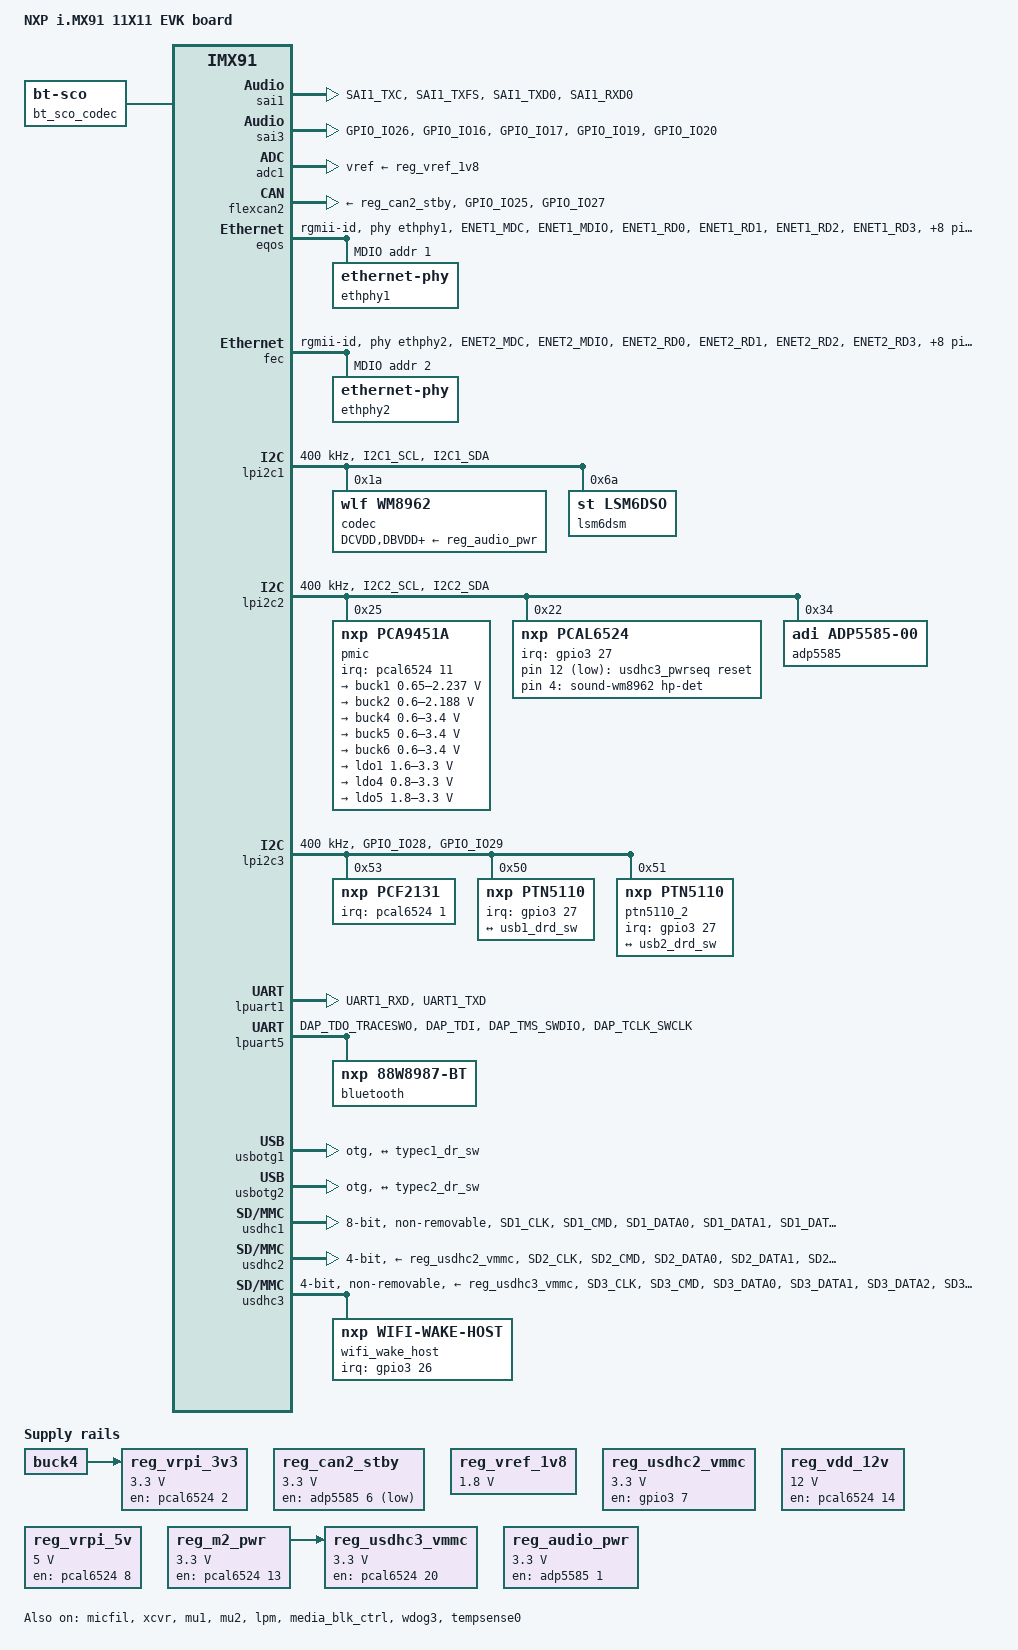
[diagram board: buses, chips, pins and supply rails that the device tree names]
// SPDX-License-Identifier: (GPL-2.0+ OR MIT)
/*
 * Copyright 2024 NXP
 */

/dts-v1/;

#include <dt-bindings/usb/pd.h>
#include "imx91.dtsi"

&ele_fw2 {
	memory-region = <&ele_reserved>;
};

/ {
	model = "NXP i.MX91 11X11 EVK board";
	compatible = "fsl,imx91-11x11-evk", "fsl,imx91";

	chosen {
		stdout-path = &lpuart1;
	};

	reserved-memory {
		#address-cells = <2>;
		#size-cells = <2>;
		ranges;

		linux,cma {
			compatible = "shared-dma-pool";
			reusable;
			alloc-ranges = <0 0x80000000 0 0x40000000>;
			size = <0 0x10000000>;
			linux,cma-default;
		};

		ele_reserved: ele-reserved@a4120000 {
			compatible = "shared-dma-pool";
			reg = <0 0xa4120000 0 0x100000>;
			no-map;
		};
	};

	reg_can2_stby: regulator-can2-stby {
		compatible = "regulator-fixed";
		regulator-name = "can2-stby";
		regulator-min-microvolt = <3300000>;
		regulator-max-microvolt = <3300000>;
		gpio = <&adp5585 6 GPIO_ACTIVE_LOW>;
		enable-active-low;
	};

	reg_vref_1v8: regulator-adc-vref {
		compatible = "regulator-fixed";
		regulator-name = "vref_1v8";
		regulator-min-microvolt = <1800000>;
		regulator-max-microvolt = <1800000>;
	};

	reg_usdhc2_vmmc: regulator-usdhc2 {
		compatible = "regulator-fixed";
		pinctrl-names = "default";
		pinctrl-0 = <&pinctrl_reg_usdhc2_vmmc>;
		regulator-name = "VSD_3V3";
		regulator-min-microvolt = <3300000>;
		regulator-max-microvolt = <3300000>;
		gpio = <&gpio3 7 GPIO_ACTIVE_HIGH>;
		off-on-delay-us = <12000>;
		enable-active-high;
	};

	reg_vdd_12v: regulator-vdd-12v {
		compatible = "regulator-fixed";
		regulator-name = "reg_vdd_12v";
		regulator-min-microvolt = <12000000>;
		regulator-max-microvolt = <12000000>;
		gpio = <&pcal6524 14 GPIO_ACTIVE_HIGH>;
		enable-active-high;
	};

	reg_vrpi_3v3: regulator-vrpi-3v3 {
		compatible = "regulator-fixed";
		regulator-name = "VRPI_3V3";
		gpio = <&pcal6524 2 GPIO_ACTIVE_HIGH>;
		regulator-min-microvolt = <3300000>;
		regulator-max-microvolt = <3300000>;
		enable-active-high;
		vin-supply = <&buck4>;
	};

	reg_vrpi_5v: regulator-vrpi-5v {
		compatible = "regulator-fixed";
		regulator-name = "VRPI_5V";
		gpio = <&pcal6524 8 GPIO_ACTIVE_HIGH>;
		regulator-min-microvolt = <5000000>;
		regulator-max-microvolt = <5000000>;
		enable-active-high;
	};

	reg_m2_pwr: regulator-m2-pwr {
		compatible = "regulator-fixed";
		regulator-name = "M.2-power";
		regulator-min-microvolt = <3300000>;
		regulator-max-microvolt = <3300000>;
		gpio = <&pcal6524 13 GPIO_ACTIVE_HIGH>;
		enable-active-high;
	};

	reg_usdhc3_vmmc: regulator-usdhc3 {
		compatible = "regulator-fixed";
		regulator-name = "WLAN_EN";
		regulator-min-microvolt = <3300000>;
		regulator-max-microvolt = <3300000>;
		vin-supply = <&reg_m2_pwr>;
		gpio = <&pcal6524 20 GPIO_ACTIVE_HIGH>;
		/*
		 * IW612 wifi chip needs more delay than other wifi chips to complete
		 * the host interface initialization after power up, otherwise the
		 * internal state of IW612 may be unstable, resulting in the failure of
		 * the SDIO3.0 switch voltage.
		 */
		startup-delay-us = <20000>;
		enable-active-high;
	};

	usdhc3_pwrseq: usdhc3_pwrseq {
		compatible = "mmc-pwrseq-simple";
		reset-gpios = <&pcal6524 12 GPIO_ACTIVE_LOW>;
	};

	reg_audio_pwr: regulator-audio-pwr {
		compatible = "regulator-fixed";
		regulator-name = "audio-pwr";
		regulator-min-microvolt = <3300000>;
		regulator-max-microvolt = <3300000>;
		gpio = <&adp5585 1 GPIO_ACTIVE_HIGH>;
		enable-active-high;
		regulator-always-on;
	};

	sound-wm8962 {
		compatible = "fsl,imx-audio-wm8962";
		model = "wm8962-audio";
		audio-cpu = <&sai3>;
		audio-codec = <&codec>;
		hp-det-gpio = <&pcal6524 4 GPIO_ACTIVE_HIGH>;
		audio-routing =
			"Headphone Jack", "HPOUTL",
			"Headphone Jack", "HPOUTR",
			"Ext Spk", "SPKOUTL",
			"Ext Spk", "SPKOUTR",
			"AMIC", "MICBIAS",
			"IN3R", "AMIC",
			"IN1R", "AMIC";
	};

	sound-micfil {
		compatible = "fsl,imx-audio-card";
		model = "micfil-audio";
		pri-dai-link {
			link-name = "micfil hifi";
			format = "i2s";
			cpu {
				sound-dai = <&micfil>;
			};
		};
	};

	bt_sco_codec: bt_sco_codec {
		#sound-dai-cells = <1>;
		compatible = "linux,bt-sco";
	};

	sound-bt-sco {
		compatible = "simple-audio-card";
		simple-audio-card,name = "bt-sco-audio";
		simple-audio-card,format = "dsp_a";
		simple-audio-card,bitclock-inversion;
		simple-audio-card,frame-master = <&btcpu>;
		simple-audio-card,bitclock-master = <&btcpu>;

		btcpu: simple-audio-card,cpu {
			sound-dai = <&sai1>;
			dai-tdm-slot-num = <2>;
			dai-tdm-slot-width = <16>;
		};

		simple-audio-card,codec {
			sound-dai = <&bt_sco_codec 1>;
		};
	};

	sound-xcvr {
		compatible = "fsl,imx-audio-card";
		model = "imx-audio-xcvr";
		pri-dai-link {
			link-name = "XCVR PCM";
			cpu {
				sound-dai = <&xcvr>;
			};
		};
	};
};

&sai1 {
	#sound-dai-cells = <0>;
	pinctrl-names = "default", "sleep";
	pinctrl-0 = <&pinctrl_sai1>;
	pinctrl-1 = <&pinctrl_sai1_sleep>;
	assigned-clocks = <&clk IMX91_CLK_SAI1>;
	assigned-clock-parents = <&clk IMX91_CLK_AUDIO_PLL>;
	assigned-clock-rates = <12288000>;
	fsl,sai-mclk-direction-output;
	status = "okay";
};

&sai3 {
	pinctrl-names = "default", "sleep";
	pinctrl-0 = <&pinctrl_sai3>;
	pinctrl-1 = <&pinctrl_sai3_sleep>;
	assigned-clocks = <&clk IMX91_CLK_SAI3>;
	assigned-clock-parents = <&clk IMX91_CLK_AUDIO_PLL>;
	assigned-clock-rates = <12288000>;
	fsl,sai-mclk-direction-output;
	status = "okay";
};

&micfil {
	#sound-dai-cells = <0>;
	pinctrl-names = "default", "sleep";
	pinctrl-0 = <&pinctrl_pdm>;
	pinctrl-1 = <&pinctrl_pdm_sleep>;
	assigned-clocks = <&clk IMX91_CLK_PDM>;
	assigned-clock-parents = <&clk IMX91_CLK_AUDIO_PLL>;
	assigned-clock-rates = <49152000>;
	status = "okay";
};

&xcvr {
	#sound-dai-cells = <0>;
	pinctrl-names = "default", "sleep";
	pinctrl-0 = <&pinctrl_spdif>;
	pinctrl-1 = <&pinctrl_spdif_sleep>;
	clocks = <&clk IMX91_CLK_SPDIF_IPG>,
		<&clk IMX91_CLK_SPDIF_GATE>,
		<&clk IMX91_CLK_DUMMY>,
		<&clk IMX91_CLK_AUD_XCVR_GATE>,
		<&clk IMX91_CLK_AUDIO_PLL>;
	clock-names = "ipg", "phy", "spba", "pll_ipg", "pll8k";
	assigned-clocks = <&clk IMX91_CLK_SPDIF>,
			 <&clk IMX91_CLK_AUDIO_XCVR>;
	assigned-clock-parents = <&clk IMX91_CLK_AUDIO_PLL>,
			 <&clk IMX91_CLK_SYS_PLL_PFD1_DIV2>;
	assigned-clock-rates = <12288000>, <200000000>;
	status = "okay";
};

&adc1 {
	vref-supply = <&reg_vref_1v8>;
	status = "okay";
};

&flexcan2 {
	pinctrl-names = "default", "sleep";
	pinctrl-0 = <&pinctrl_flexcan2>;
	pinctrl-1 = <&pinctrl_flexcan2_sleep>;
	xceiver-supply = <&reg_can2_stby>;
	status = "okay";
};

&mu1 {
	status = "okay";
};

&mu2 {
	status = "okay";
};

&eqos {
	pinctrl-names = "default", "sleep";
	pinctrl-0 = <&pinctrl_eqos>;
	pinctrl-1 = <&pinctrl_eqos_sleep>;
	phy-mode = "rgmii-id";
	phy-handle = <&ethphy1>;
	status = "okay";

	mdio {
		compatible = "snps,dwmac-mdio";
		#address-cells = <1>;
		#size-cells = <0>;
		clock-frequency = <5000000>;

		ethphy1: ethernet-phy@1 {
			reg = <1>;
			realtek,clkout-disable;
		};
	};
};

&fec {
	pinctrl-names = "default", "sleep";
	pinctrl-0 = <&pinctrl_fec>;
	pinctrl-1 = <&pinctrl_fec_sleep>;
	phy-mode = "rgmii-id";
	phy-handle = <&ethphy2>;
	fsl,magic-packet;
	status = "okay";

	mdio {
		#address-cells = <1>;
		#size-cells = <0>;
		clock-frequency = <5000000>;

		ethphy2: ethernet-phy@2 {
			reg = <2>;
			eee-broken-1000t;
			realtek,clkout-disable;
		};
	};
};

&lpm {
	soc-supply = <&buck1>;
	status = "okay";
};

/*
 * When add, delete or change any target device setting in &lpi2c1,
 * please synchronize the changes to the &i3c1 bus in imx91-11x11-evk-i3c.dts.
 */
&lpi2c1 {
	clock-frequency = <400000>;
	pinctrl-names = "default";
	pinctrl-0 = <&pinctrl_lpi2c1>;
	status = "okay";

	codec: wm8962@1a {
		compatible = "wlf,wm8962";
		reg = <0x1a>;
		clocks = <&clk IMX91_CLK_SAI3_GATE>;
		DCVDD-supply = <&reg_audio_pwr>;
		DBVDD-supply = <&reg_audio_pwr>;
		AVDD-supply = <&reg_audio_pwr>;
		CPVDD-supply = <&reg_audio_pwr>;
		MICVDD-supply = <&reg_audio_pwr>;
		PLLVDD-supply = <&reg_audio_pwr>;
		SPKVDD1-supply = <&reg_audio_pwr>;
		SPKVDD2-supply = <&reg_audio_pwr>;
		gpio-cfg = <
			0x0000 /* 0:Default */
			0x0000 /* 1:Default */
			0x0000 /* 2:FN_DMICCLK */
			0x0000 /* 3:Default */
			0x0000 /* 4:FN_DMICCDAT */
			0x0000 /* 5:Default */
		>;
	};

	lsm6dsm@6a {
		compatible = "st,lsm6dso";
		reg = <0x6a>;
	};
};

&lpi2c2 {
	clock-frequency = <400000>;
	pinctrl-names = "default";
	pinctrl-0 = <&pinctrl_lpi2c2>;
	status = "okay";

	pmic@25 {
		compatible = "nxp,pca9451a";
		reg = <0x25>;
		interrupt-parent = <&pcal6524>;
		interrupts = <11 IRQ_TYPE_EDGE_FALLING>;

		regulators {
			buck1: BUCK1 {
				regulator-name = "BUCK1";
				regulator-min-microvolt = <650000>;
				regulator-max-microvolt = <2237500>;
				regulator-boot-on;
				regulator-always-on;
				regulator-ramp-delay = <3125>;
			};

			buck2: BUCK2 {
				regulator-name = "BUCK2";
				regulator-min-microvolt = <600000>;
				regulator-max-microvolt = <2187500>;
				regulator-boot-on;
				regulator-always-on;
				regulator-ramp-delay = <3125>;
			};

			buck4: BUCK4{
				regulator-name = "BUCK4";
				regulator-min-microvolt = <600000>;
				regulator-max-microvolt = <3400000>;
				regulator-boot-on;
				regulator-always-on;
			};

			buck5: BUCK5{
				regulator-name = "BUCK5";
				regulator-min-microvolt = <600000>;
				regulator-max-microvolt = <3400000>;
				regulator-boot-on;
				regulator-always-on;
			};

			buck6: BUCK6 {
				regulator-name = "BUCK6";
				regulator-min-microvolt = <600000>;
				regulator-max-microvolt = <3400000>;
				regulator-boot-on;
				regulator-always-on;
			};

			ldo1: LDO1 {
				regulator-name = "LDO1";
				regulator-min-microvolt = <1600000>;
				regulator-max-microvolt = <3300000>;
				regulator-boot-on;
				regulator-always-on;
			};

			ldo4: LDO4 {
				regulator-name = "LDO4";
				regulator-min-microvolt = <800000>;
				regulator-max-microvolt = <3300000>;
				regulator-boot-on;
				regulator-always-on;
			};

			ldo5: LDO5 {
				regulator-name = "LDO5";
				regulator-min-microvolt = <1800000>;
				regulator-max-microvolt = <3300000>;
				regulator-boot-on;
				regulator-always-on;
			};
		};
	};

	pcal6524: gpio@22 {
		compatible = "nxp,pcal6524";
		pinctrl-names = "default";
		pinctrl-0 = <&pinctrl_pcal6524>;
		reg = <0x22>;
		gpio-controller;
		#gpio-cells = <2>;
		interrupt-controller;
		#interrupt-cells = <2>;
		interrupt-parent = <&gpio3>;
		interrupts = <27 IRQ_TYPE_LEVEL_LOW>;

		m2-pcm-level-shifter-hog {
			gpio-hog;
			gpios = <19 GPIO_ACTIVE_HIGH>;
			output-high;
		};
	};

	adp5585: io-expander@34 {
		compatible = "adi,adp5585-00", "adi,adp5585";
		reg = <0x34>;
		gpio-controller;
		#gpio-cells = <2>;
		gpio-reserved-ranges = <5 1>;
		#pwm-cells = <3>;

		/* EXP_SEL selects pins between board and RPi */
		exp-sel-hog {
			gpio-hog;
			gpios = <4 GPIO_ACTIVE_HIGH>;
			output-low;
		};
	};
};

&lpi2c3 {
	clock-frequency = <400000>;
	pinctrl-names = "default";
	pinctrl-0 = <&pinctrl_lpi2c3>;
	status = "okay";

	pcf2131: rtc@53 {
			compatible = "nxp,pcf2131";
			reg = <0x53>;
			interrupt-parent = <&pcal6524>;
			interrupts = <1 IRQ_TYPE_EDGE_FALLING>;
			status = "okay";
	};

	ptn5110: tcpc@50 {
		compatible = "nxp,ptn5110";
		reg = <0x50>;
		interrupt-parent = <&gpio3>;
		interrupts = <27 IRQ_TYPE_LEVEL_LOW>;
		status = "okay";

		port {
			typec1_dr_sw: endpoint {
				remote-endpoint = <&usb1_drd_sw>;
			};
		};

		typec1_con: connector {
			compatible = "usb-c-connector";
			label = "USB-C";
			power-role = "dual";
			data-role = "dual";
			try-power-role = "sink";
			source-pdos = <PDO_FIXED(5000, 3000, PDO_FIXED_USB_COMM)>;
			sink-pdos = <PDO_FIXED(5000, 3000, PDO_FIXED_USB_COMM)
				     PDO_VAR(5000, 20000, 3000)>;
			op-sink-microwatt = <15000000>;
			self-powered;
		};
	};

	ptn5110_2: tcpc@51 {
		compatible = "nxp,ptn5110";
		reg = <0x51>;
		interrupt-parent = <&gpio3>;
		interrupts = <27 IRQ_TYPE_LEVEL_LOW>;
		status = "okay";

		port {
			typec2_dr_sw: endpoint {
				remote-endpoint = <&usb2_drd_sw>;
			};
		};

		typec2_con: connector {
			compatible = "usb-c-connector";
			label = "USB-C";
			power-role = "dual";
			data-role = "dual";
			try-power-role = "sink";
			source-pdos = <PDO_FIXED(5000, 3000, PDO_FIXED_USB_COMM)>;
			sink-pdos = <PDO_FIXED(5000, 3000, PDO_FIXED_USB_COMM)
				     PDO_VAR(5000, 20000, 3000)>;
			op-sink-microwatt = <15000000>;
			self-powered;
		};
	};
};

&lpuart1 { /* console */
	pinctrl-names = "default";
	pinctrl-0 = <&pinctrl_uart1>;
	status = "okay";
};

&lpuart5 {
	/* BT */
	pinctrl-names = "default";
	pinctrl-0 = <&pinctrl_uart5>;
	status = "okay";

	bluetooth {
		compatible = "nxp,88w8987-bt";
	};
};

&media_blk_ctrl {
	status = "okay";
};

&usbotg1 {
	dr_mode = "otg";
	hnp-disable;
	srp-disable;
	adp-disable;
	usb-role-switch;
	disable-over-current;
	samsung,picophy-pre-emp-curr-control = <3>;
	samsung,picophy-dc-vol-level-adjust = <7>;
	status = "okay";

	port {
		usb1_drd_sw: endpoint {
			remote-endpoint = <&typec1_dr_sw>;
		};
	};
};

&usbotg2 {
	dr_mode = "otg";
	hnp-disable;
	srp-disable;
	adp-disable;
	usb-role-switch;
	disable-over-current;
	samsung,picophy-pre-emp-curr-control = <3>;
	samsung,picophy-dc-vol-level-adjust = <7>;
	status = "okay";

	port {
		usb2_drd_sw: endpoint {
			remote-endpoint = <&typec2_dr_sw>;
		};
	};
};

&usdhc1 {
	pinctrl-names = "default", "state_100mhz", "state_200mhz";
	pinctrl-0 = <&pinctrl_usdhc1>;
	pinctrl-1 = <&pinctrl_usdhc1_100mhz>;
	pinctrl-2 = <&pinctrl_usdhc1_200mhz>;
	bus-width = <8>;
	fsl,tuning-step = <1>;
	non-removable;
	status = "okay";
};

&usdhc2 {
	pinctrl-names = "default", "state_100mhz", "state_200mhz", "sleep";
	pinctrl-0 = <&pinctrl_usdhc2>, <&pinctrl_usdhc2_gpio>;
	pinctrl-1 = <&pinctrl_usdhc2_100mhz>, <&pinctrl_usdhc2_gpio>;
	pinctrl-2 = <&pinctrl_usdhc2_200mhz>, <&pinctrl_usdhc2_gpio>;
	pinctrl-3 = <&pinctrl_usdhc2_sleep>, <&pinctrl_usdhc2_gpio_sleep>;
	cd-gpios = <&gpio3 00 GPIO_ACTIVE_LOW>;
	fsl,cd-gpio-wakeup-disable;
	vmmc-supply = <&reg_usdhc2_vmmc>;
	bus-width = <4>;
	fsl,tuning-step = <1>;
	status = "okay";
	no-sdio;
	no-mmc;
};

&usdhc3 {
	pinctrl-names = "default", "state_100mhz", "state_200mhz", "sleep";
	pinctrl-0 = <&pinctrl_usdhc3>, <&pinctrl_usdhc3_wlan>;
	pinctrl-1 = <&pinctrl_usdhc3_100mhz>, <&pinctrl_usdhc3_wlan>;
	pinctrl-2 = <&pinctrl_usdhc3_200mhz>, <&pinctrl_usdhc3_wlan>;
	pinctrl-3 = <&pinctrl_usdhc3_sleep>, <&pinctrl_usdhc3_wlan>;
	mmc-pwrseq = <&usdhc3_pwrseq>;
	vmmc-supply = <&reg_usdhc3_vmmc>;
	bus-width = <4>;
	keep-power-in-suspend;
	non-removable;
	wakeup-source;
	status = "okay";

	wifi_wake_host {
		compatible = "nxp,wifi-wake-host";
		interrupt-parent = <&gpio3>;
		interrupts = <26 IRQ_TYPE_LEVEL_LOW>;
		interrupt-names = "host-wake";
	};
};

&wdog3 {
	status = "okay";
};

&tempsense0 {
	status = "okay";
};

&iomuxc {
	pinctrl_eqos: eqosgrp {
		fsl,pins = <
			MX91_PAD_ENET1_MDC__ENET1_MDC			0x57e
			MX91_PAD_ENET1_MDIO__ENET_QOS_MDIO			0x57e
			MX91_PAD_ENET1_RD0__ENET_QOS_RGMII_RD0			0x57e
			MX91_PAD_ENET1_RD1__ENET_QOS_RGMII_RD1			0x57e
			MX91_PAD_ENET1_RD2__ENET_QOS_RGMII_RD2			0x57e
			MX91_PAD_ENET1_RD3__ENET_QOS_RGMII_RD3			0x57e
			MX91_PAD_ENET1_RXC__ENET_QOS_RGMII_RXC	0x5fe
			MX91_PAD_ENET1_RX_CTL__ENET_QOS_RGMII_RX_CTL		0x57e
			MX91_PAD_ENET1_TD0__ENET_QOS_RGMII_TD0			0x57e
			MX91_PAD_ENET1_TD1__ENET1_RGMII_TD1			0x57e
			MX91_PAD_ENET1_TD2__ENET_QOS_RGMII_TD2			0x57e
			MX91_PAD_ENET1_TD3__ENET_QOS_RGMII_TD3			0x57e
			MX91_PAD_ENET1_TXC__CCM_ENET_QOS_CLOCK_GENERATE_TX_CLK	0x5fe
			MX91_PAD_ENET1_TX_CTL__ENET_QOS_RGMII_TX_CTL		0x57e
		>;
	};

	pinctrl_eqos_sleep: eqosgrpsleep {
		fsl,pins = <
			MX91_PAD_ENET1_MDC__GPIO4_IO0				0x31e
			MX91_PAD_ENET1_MDIO__GPIO4_IO1				0x31e
			MX91_PAD_ENET1_RD0__GPIO4_IO10                          0x31e
			MX91_PAD_ENET1_RD1__GPIO4_IO11				0x31e
			MX91_PAD_ENET1_RD2__GPIO4_IO12				0x31e
			MX91_PAD_ENET1_RD3__GPIO4_IO13				0x31e
			MX91_PAD_ENET1_RXC__GPIO4_IO9                          0x31e
			MX91_PAD_ENET1_RX_CTL__GPIO4_IO8			0x31e
			MX91_PAD_ENET1_TD0__GPIO4_IO5                          0x31e
			MX91_PAD_ENET1_TD1__GPIO4_IO4                          0x31e
			MX91_PAD_ENET1_TD2__GPIO4_IO3				0x31e
			MX91_PAD_ENET1_TD3__GPIO4_IO2				0x31e
			MX91_PAD_ENET1_TXC__GPIO4_IO7                          0x31e
			MX91_PAD_ENET1_TX_CTL__GPIO4_IO6                       0x31e
		>;
	};

	pinctrl_fec: fecgrp {
		fsl,pins = <
			MX91_PAD_ENET2_MDC__ENET2_MDC			0x57e
			MX91_PAD_ENET2_MDIO__ENET2_MDIO			0x57e
			MX91_PAD_ENET2_RD0__ENET2_RGMII_RD0		0x57e
			MX91_PAD_ENET2_RD1__ENET2_RGMII_RD1		0x57e
			MX91_PAD_ENET2_RD2__ENET2_RGMII_RD2		0x57e
			MX91_PAD_ENET2_RD3__ENET2_RGMII_RD3		0x57e
			MX91_PAD_ENET2_RXC__ENET2_RGMII_RXC		0x5fe
			MX91_PAD_ENET2_RX_CTL__ENET2_RGMII_RX_CTL	0x57e
			MX91_PAD_ENET2_TD0__ENET2_RGMII_TD0		0x57e
			MX91_PAD_ENET2_TD1__ENET2_RGMII_TD1		0x57e
			MX91_PAD_ENET2_TD2__ENET2_RGMII_TD2		0x57e
			MX91_PAD_ENET2_TD3__ENET2_RGMII_TD3		0x57e
			MX91_PAD_ENET2_TXC__ENET2_RGMII_TXC		0x5fe
			MX91_PAD_ENET2_TX_CTL__ENET2_RGMII_TX_CTL	0x57e
		>;
	};

	pinctrl_fec_sleep: fecsleepgrp {
		fsl,pins = <
			MX91_PAD_ENET2_MDC__GPIO4_IO14			0x51e
			MX91_PAD_ENET2_MDIO__GPIO4_IO15			0x51e
			MX91_PAD_ENET2_RD0__GPIO4_IO24			0x51e
			MX91_PAD_ENET2_RD1__GPIO4_IO25			0x51e
			MX91_PAD_ENET2_RD2__GPIO4_IO26			0x51e
			MX91_PAD_ENET2_RD3__GPIO4_IO27			0x51e
			MX91_PAD_ENET2_RXC__GPIO4_IO23                  0x51e
			MX91_PAD_ENET2_RX_CTL__GPIO4_IO22		0x51e
			MX91_PAD_ENET2_TD0__GPIO4_IO19			0x51e
			MX91_PAD_ENET2_TD1__GPIO4_IO18			0x51e
			MX91_PAD_ENET2_TD2__GPIO4_IO17			0x51e
			MX91_PAD_ENET2_TD3__GPIO4_IO16			0x51e
			MX91_PAD_ENET2_TXC__GPIO4_IO21                  0x51e
			MX91_PAD_ENET2_TX_CTL__GPIO4_IO20               0x51e
		>;
	};

	pinctrl_flexcan2: flexcan2grp {
		fsl,pins = <
			MX91_PAD_GPIO_IO25__CAN2_TX	0x139e
			MX91_PAD_GPIO_IO27__CAN2_RX	0x139e
		>;
	};
	pinctrl_flexcan2_sleep: flexcan2sleepgrp {
		fsl,pins = <
			MX91_PAD_GPIO_IO25__GPIO2_IO25  0x31e
			MX91_PAD_GPIO_IO27__GPIO2_IO27	0x31e
		>;
	};

	pinctrl_lpi2c1: lpi2c1grp {
		fsl,pins = <
			MX91_PAD_I2C1_SCL__LPI2C1_SCL			0x40000b9e
			MX91_PAD_I2C1_SDA__LPI2C1_SDA			0x40000b9e
		>;
	};

	pinctrl_lpi2c2: lpi2c2grp {
		fsl,pins = <
			MX91_PAD_I2C2_SCL__LPI2C2_SCL			0x40000b9e
			MX91_PAD_I2C2_SDA__LPI2C2_SDA			0x40000b9e
		>;
	};

	pinctrl_lpi2c3: lpi2c3grp {
		fsl,pins = <
			MX91_PAD_GPIO_IO28__LPI2C3_SDA			0x40000b9e
			MX91_PAD_GPIO_IO29__LPI2C3_SCL			0x40000b9e
		>;
	};

	pinctrl_pcal6524: pcal6524grp {
		fsl,pins = <
			MX91_PAD_CCM_CLKO2__GPIO3_IO27			0x31e
		>;
	};

	pinctrl_uart1: uart1grp {
		fsl,pins = <
			MX91_PAD_UART1_RXD__LPUART1_RX			0x31e
			MX91_PAD_UART1_TXD__LPUART1_TX			0x31e
		>;
	};

	pinctrl_uart5: uart5grp {
		fsl,pins = <
			MX91_PAD_DAP_TDO_TRACESWO__LPUART5_TX	0x31e
			MX91_PAD_DAP_TDI__LPUART5_RX		0x31e
			MX91_PAD_DAP_TMS_SWDIO__LPUART5_RTS_B	0x31e
			MX91_PAD_DAP_TCLK_SWCLK__LPUART5_CTS_B	0x31e
		>;
	};

	pinctrl_usdhc1: usdhc1grp {
		fsl,pins = <
			MX91_PAD_SD1_CLK__USDHC1_CLK		0x1582
			MX91_PAD_SD1_CMD__USDHC1_CMD		0x1382
			MX91_PAD_SD1_DATA0__USDHC1_DATA0	0x1382
			MX91_PAD_SD1_DATA1__USDHC1_DATA1	0x1382
			MX91_PAD_SD1_DATA2__USDHC1_DATA2	0x1382
			MX91_PAD_SD1_DATA3__USDHC1_DATA3	0x1382
			MX91_PAD_SD1_DATA4__USDHC1_DATA4	0x1382
			MX91_PAD_SD1_DATA5__USDHC1_DATA5	0x1382
			MX91_PAD_SD1_DATA6__USDHC1_DATA6	0x1382
			MX91_PAD_SD1_DATA7__USDHC1_DATA7	0x1382
			MX91_PAD_SD1_STROBE__USDHC1_STROBE	0x1582
		>;
	};

	pinctrl_usdhc1_100mhz: usdhc1-100mhzgrp {
		fsl,pins = <
			MX91_PAD_SD1_CLK__USDHC1_CLK		0x158e
			MX91_PAD_SD1_CMD__USDHC1_CMD		0x138e
			MX91_PAD_SD1_DATA0__USDHC1_DATA0	0x138e
			MX91_PAD_SD1_DATA1__USDHC1_DATA1	0x138e
			MX91_PAD_SD1_DATA2__USDHC1_DATA2	0x138e
			MX91_PAD_SD1_DATA3__USDHC1_DATA3	0x138e
			MX91_PAD_SD1_DATA4__USDHC1_DATA4	0x138e
			MX91_PAD_SD1_DATA5__USDHC1_DATA5	0x138e
			MX91_PAD_SD1_DATA6__USDHC1_DATA6	0x138e
			MX91_PAD_SD1_DATA7__USDHC1_DATA7	0x138e
			MX91_PAD_SD1_STROBE__USDHC1_STROBE	0x158e
		>;
	};

	pinctrl_usdhc1_200mhz: usdhc1-200mhzgrp {
		fsl,pins = <
			MX91_PAD_SD1_CLK__USDHC1_CLK		0x15fe
			MX91_PAD_SD1_CMD__USDHC1_CMD		0x13fe
			MX91_PAD_SD1_DATA0__USDHC1_DATA0	0x13fe
			MX91_PAD_SD1_DATA1__USDHC1_DATA1	0x13fe
			MX91_PAD_SD1_DATA2__USDHC1_DATA2	0x13fe
			MX91_PAD_SD1_DATA3__USDHC1_DATA3	0x13fe
			MX91_PAD_SD1_DATA4__USDHC1_DATA4	0x13fe
			MX91_PAD_SD1_DATA5__USDHC1_DATA5	0x13fe
			MX91_PAD_SD1_DATA6__USDHC1_DATA6	0x13fe
			MX91_PAD_SD1_DATA7__USDHC1_DATA7	0x13fe
			MX91_PAD_SD1_STROBE__USDHC1_STROBE	0x15fe
		>;
	};

	pinctrl_reg_usdhc2_vmmc: regusdhc2vmmcgrp {
		fsl,pins = <
			MX91_PAD_SD2_RESET_B__GPIO3_IO7	0x31e
		>;
	};

	pinctrl_usdhc2_gpio: usdhc2gpiogrp {
		fsl,pins = <
			MX91_PAD_SD2_CD_B__GPIO3_IO0		0x31e
		>;
	};

	pinctrl_usdhc2_gpio_sleep: usdhc2gpiogrpsleep {
		fsl,pins = <
			MX91_PAD_SD2_CD_B__GPIO3_IO0		0x51e
		>;
	};

	pinctrl_usdhc2: usdhc2grp {
		fsl,pins = <
			MX91_PAD_SD2_CLK__USDHC2_CLK		0x1582
			MX91_PAD_SD2_CMD__USDHC2_CMD		0x1382
			MX91_PAD_SD2_DATA0__USDHC2_DATA0	0x1382
			MX91_PAD_SD2_DATA1__USDHC2_DATA1	0x1382
			MX91_PAD_SD2_DATA2__USDHC2_DATA2	0x1382
			MX91_PAD_SD2_DATA3__USDHC2_DATA3	0x1382
			MX91_PAD_SD2_VSELECT__USDHC2_VSELECT	0x51e
		>;
	};

	pinctrl_usdhc2_100mhz: usdhc2-100mhzgrp {
		fsl,pins = <
			MX91_PAD_SD2_CLK__USDHC2_CLK		0x158e
			MX91_PAD_SD2_CMD__USDHC2_CMD		0x138e
			MX91_PAD_SD2_DATA0__USDHC2_DATA0	0x138e
			MX91_PAD_SD2_DATA1__USDHC2_DATA1	0x138e
			MX91_PAD_SD2_DATA2__USDHC2_DATA2	0x138e
			MX91_PAD_SD2_DATA3__USDHC2_DATA3	0x138e
			MX91_PAD_SD2_VSELECT__USDHC2_VSELECT	0x51e
		>;
	};

	pinctrl_usdhc2_200mhz: usdhc2-200mhzgrp {
		fsl,pins = <
			MX91_PAD_SD2_CLK__USDHC2_CLK		0x15fe
			MX91_PAD_SD2_CMD__USDHC2_CMD		0x13fe
			MX91_PAD_SD2_DATA0__USDHC2_DATA0	0x13fe
			MX91_PAD_SD2_DATA1__USDHC2_DATA1	0x13fe
			MX91_PAD_SD2_DATA2__USDHC2_DATA2	0x13fe
			MX91_PAD_SD2_DATA3__USDHC2_DATA3	0x13fe
			MX91_PAD_SD2_VSELECT__USDHC2_VSELECT	0x51e
		>;
	};

	pinctrl_usdhc2_sleep: usdhc2grpsleep {
		fsl,pins = <
			MX91_PAD_SD2_CLK__GPIO3_IO1            0x51e
			MX91_PAD_SD2_CMD__GPIO3_IO2		0x51e
			MX91_PAD_SD2_DATA0__GPIO3_IO3		0x51e
			MX91_PAD_SD2_DATA1__GPIO3_IO4		0x51e
			MX91_PAD_SD2_DATA2__GPIO3_IO5		0x51e
			MX91_PAD_SD2_DATA3__GPIO3_IO6		0x51e
			MX91_PAD_SD2_VSELECT__GPIO3_IO19	0x51e
		>;
	};

	pinctrl_usdhc3: usdhc3grp {
		fsl,pins = <
			MX91_PAD_SD3_CLK__USDHC3_CLK		0x1582
			MX91_PAD_SD3_CMD__USDHC3_CMD		0x1382
			MX91_PAD_SD3_DATA0__USDHC3_DATA0	0x1382
			MX91_PAD_SD3_DATA1__USDHC3_DATA1	0x1382
			MX91_PAD_SD3_DATA2__USDHC3_DATA2	0x1382
			MX91_PAD_SD3_DATA3__USDHC3_DATA3	0x1382
		>;
	};

	pinctrl_usdhc3_100mhz: usdhc3-100mhzgrp {
		fsl,pins = <
			MX91_PAD_SD3_CLK__USDHC3_CLK		0x158e
			MX91_PAD_SD3_CMD__USDHC3_CMD		0x138e
			MX91_PAD_SD3_DATA0__USDHC3_DATA0	0x138e
			MX91_PAD_SD3_DATA1__USDHC3_DATA1	0x138e
			MX91_PAD_SD3_DATA2__USDHC3_DATA2	0x138e
			MX91_PAD_SD3_DATA3__USDHC3_DATA3	0x138e
		>;
	};

	pinctrl_usdhc3_200mhz: usdhc3-200mhzgrp {
		fsl,pins = <
			MX91_PAD_SD3_CLK__USDHC3_CLK		0x15fe
			MX91_PAD_SD3_CMD__USDHC3_CMD		0x13fe
			MX91_PAD_SD3_DATA0__USDHC3_DATA0	0x13fe
			MX91_PAD_SD3_DATA1__USDHC3_DATA1	0x13fe
			MX91_PAD_SD3_DATA2__USDHC3_DATA2	0x13fe
			MX91_PAD_SD3_DATA3__USDHC3_DATA3	0x13fe
		>;
	};

	pinctrl_usdhc3_sleep: usdhc3grpsleep {
		fsl,pins = <
			MX91_PAD_SD3_CLK__GPIO3_IO20		0x31e
			MX91_PAD_SD3_CMD__GPIO3_IO21		0x31e
			MX91_PAD_SD3_DATA0__GPIO3_IO22		0x31e
			MX91_PAD_SD3_DATA1__GPIO3_IO23		0x31e
			MX91_PAD_SD3_DATA2__GPIO3_IO24		0x31e
			MX91_PAD_SD3_DATA3__GPIO3_IO25		0x31e
		>;
	};

	pinctrl_usdhc3_wlan: usdhc3wlangrp {
		fsl,pins = <
			MX91_PAD_CCM_CLKO1__GPIO3_IO26		0x31e
		>;
	};

	pinctrl_sai1: sai1grp {
		fsl,pins = <
			MX91_PAD_SAI1_TXC__SAI1_TX_BCLK			0x31e
			MX91_PAD_SAI1_TXFS__SAI1_TX_SYNC		0x31e
			MX91_PAD_SAI1_TXD0__SAI1_TX_DATA0		0x31e
			MX91_PAD_SAI1_RXD0__SAI1_RX_DATA0		0x31e
		>;
	};

	pinctrl_sai1_sleep: sai1grpsleep {
		fsl,pins = <
			MX91_PAD_SAI1_TXC__GPIO1_IO12                   0x51e
			MX91_PAD_SAI1_TXFS__GPIO1_IO11			0x51e
			MX91_PAD_SAI1_TXD0__GPIO1_IO13			0x51e
			MX91_PAD_SAI1_RXD0__GPIO1_IO14			0x51e
		>;
	};

	pinctrl_sai3: sai3grp {
		fsl,pins = <
			MX91_PAD_GPIO_IO26__SAI3_TX_SYNC		0x31e
			MX91_PAD_GPIO_IO16__SAI3_TX_BCLK		0x31e
			MX91_PAD_GPIO_IO17__SAI3_MCLK			0x31e
			MX91_PAD_GPIO_IO19__SAI3_TX_DATA0		0x31e
			MX91_PAD_GPIO_IO20__SAI3_RX_DATA0		0x31e
		>;
	};

	pinctrl_sai3_sleep: sai3grpsleep {
		fsl,pins = <
			MX91_PAD_GPIO_IO26__GPIO2_IO26			0x51e
			MX91_PAD_GPIO_IO16__GPIO2_IO16			0x51e
			MX91_PAD_GPIO_IO17__GPIO2_IO17			0x51e
			MX91_PAD_GPIO_IO19__GPIO2_IO19			0x51e
			MX91_PAD_GPIO_IO20__GPIO2_IO20			0x51e
		>;
	};

	pinctrl_pdm: pdmgrp {
		fsl,pins = <
			MX91_PAD_PDM_CLK__PDM_CLK			0x31e
			MX91_PAD_PDM_BIT_STREAM0__PDM_BIT_STREAM0	0x31e
			MX91_PAD_PDM_BIT_STREAM1__PDM_BIT_STREAM1	0x31e
		>;
	};

	pinctrl_pdm_sleep: pdmgrpsleep {
		fsl,pins = <
			MX91_PAD_PDM_CLK__GPIO1_IO8			0x31e
			MX91_PAD_PDM_BIT_STREAM0__GPIO1_IO9		0x31e
			MX91_PAD_PDM_BIT_STREAM1__GPIO1_IO10		0x31e
		>;
	};

	pinctrl_spdif: spdifgrp {
		fsl,pins = <
			MX91_PAD_GPIO_IO22__SPDIF_IN		0x3fe
			MX91_PAD_GPIO_IO23__SPDIF_OUT		0x3fe
		>;
	};

	pinctrl_spdif_sleep: spdifgrpsleep {
		fsl,pins = <
			MX91_PAD_GPIO_IO22__GPIO2_IO22		0x31e
			MX91_PAD_GPIO_IO23__GPIO2_IO23		0x31e
		>;
	};
};
